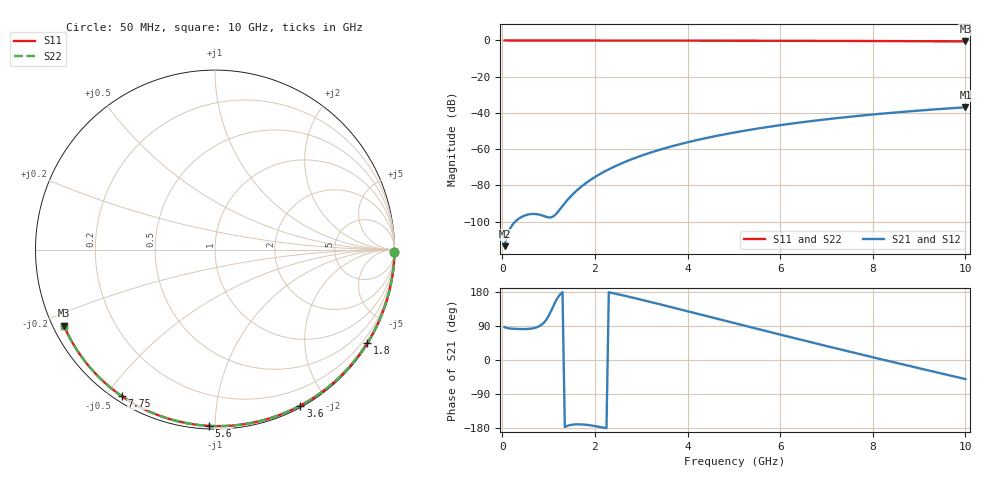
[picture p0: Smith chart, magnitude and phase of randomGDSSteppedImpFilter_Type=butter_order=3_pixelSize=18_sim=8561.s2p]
! freq	dB(S11)	phase(S11)	dB(S12)	phase(S12)
!  dB(S21)	phase(S21)	dB(S22)	phase(S22)
!S-par simulation data
#  GHz  S  DB  R 50
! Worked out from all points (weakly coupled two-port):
!   200 points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, 50 MHz to 10 GHz, reference 50 ohm
!   highest |S21| = -36.89 dB at 10 GHz (marker M1); lowest = -113.5 dB at 50 MHz (marker M2)
!   lowest |S11| = -0.5 dB at 10 GHz (marker M3), VSWR 33.66, Z = 1.57 - j11.9 ohm
!   |S11| at or under -10 dB: nowhere
!   |S22| runs from -0.5 to 0.0 dB; largest |S21 - S12| = 0
!   S11 on the Smith chart (normalised r, x): 50 MHz: open; 1.8 GHz: 0.03, -3.55; 3.6 GHz: 0.02, -1.69; 5.6 GHz: 0.02, -0.97; 7.75 GHz: 0.02, -0.55; 10 GHz: 0.03, -0.24
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0.05  -0.00 -0.9  -113.53 86.7  -113.53 86.7  -0.00 -0.9
0.45  -0.01 -8.0  -96.98 81.6  -96.98 81.6  -0.01 -8.0
0.9  -0.02 -15.9  -96.91 98.7  -96.91 98.7  -0.02 -15.9
1.7  -0.04 -29.8  -80.80 -169.9  -80.80 -169.9  -0.04 -29.8
1.75  -0.04 -30.6  -79.79 -170.3  -79.79 -170.3  -0.04 -30.6
1.8  -0.04 -31.5  -78.83 -170.9  -78.83 -170.9  -0.04 -31.5
1.95  -0.04 -34.0  -76.19 -173.3  -76.19 -173.3  -0.04 -34.0
2.1  -0.05 -36.6  -73.86 -176.4  -73.86 -176.4  -0.05 -36.6
2.3  -0.05 -39.9  -71.12 178.8  -71.12 178.8  -0.05 -40.0
2.5  -0.06 -43.3  -68.69 173.5  -68.69 173.5  -0.06 -43.3
2.9  -0.06 -49.9  -64.55 162.1  -64.55 162.1  -0.06 -50.0
3.4  -0.08 -58.1  -60.32 147.1  -60.32 147.1  -0.08 -58.1
3.6  -0.08 -61.3  -58.85 141.0  -58.85 141.0  -0.08 -61.3
4.3  -0.10 -72.3  -54.43 119.4  -54.43 119.4  -0.10 -72.3
5.05  -0.13 -83.8  -50.62 96.2  -50.62 96.2  -0.13 -83.8
5.6  -0.15 -91.9  -48.27 79.3  -48.27 79.3  -0.15 -92.0
6.15  -0.18 -99.9  -46.22 62.5  -46.22 62.5  -0.18 -99.9
6.7  -0.21 -107.7  -44.40 45.8  -44.40 45.8  -0.21 -107.8
7.75  -0.28 -122.3  -41.47 14.6  -41.47 14.6  -0.28 -122.4
8.35  -0.34 -130.6  -40.05 -3.0  -40.05 -3.0  -0.34 -130.6
9.2  -0.42 -142.2  -38.30 -27.5  -38.30 -27.5  -0.42 -142.3
10  -0.52 -153.2  -36.89 -50.3  -36.89 -50.3  -0.52 -153.3
